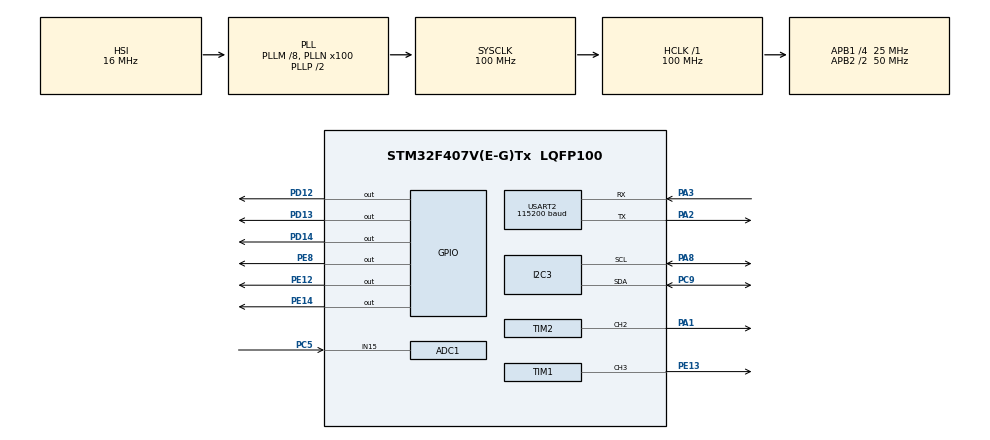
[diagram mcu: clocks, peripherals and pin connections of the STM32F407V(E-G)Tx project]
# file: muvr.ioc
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ADC1.Channel-2\#ChannelRegularConversion=ADC_CHANNEL_15
ADC1.ContinuousConvMode=ENABLE
ADC1.DMAContinuousRequests=DISABLE
ADC1.NbrOfConversionFlag=1
ADC1.Rank-2\#ChannelRegularConversion=1
ADC1.SamplingTime-2\#ChannelRegularConversion=ADC_SAMPLETIME_3CYCLES
ADC1.master=1
Dma.Request0=USART2_TX
Dma.USART2_TX.0.Direction=DMA_MEMORY_TO_PERIPH
Dma.USART2_TX.0.FIFOMode=DMA_FIFOMODE_DISABLE
Dma.USART2_TX.0.Instance=DMA1_Stream6
Dma.USART2_TX.0.MemDataAlignment=DMA_MDATAALIGN_BYTE
Dma.USART2_TX.0.MemInc=DMA_MINC_ENABLE
Dma.USART2_TX.0.Mode=DMA_NORMAL
Dma.USART2_TX.0.PeriphDataAlignment=DMA_PDATAALIGN_BYTE
Dma.USART2_TX.0.PeriphInc=DMA_PINC_DISABLE
Dma.USART2_TX.0.Priority=DMA_PRIORITY_LOW
FREERTOS.BinarySemaphores01=xSpeakerSem,Dynamic,NULL,Depleted
FREERTOS.Mutexes01=xUARTMutex,Dynamic,NULL,Depleted;xFANMutex,Dynamic,NULL,Available
FREERTOS.Queues01=queue_r0,5,WeatherData_t,0,Dynamic,NULL,NULL;queue_pr,5,float,0,Dynamic,NULL,NULL;queue_co,5,float,0,Dynamic,NULL,NULL;uartCommandQueue,3,uint8_t,0,Dynamic,NULL,NULL;queue_watchdog,4,WatchdogError_t,0,Dynamic,NULL,NULL
FREERTOS.Tasks01=CoMeasureTask,24,512,co_measure_task,Default,NULL,Dynamic,NULL,NULL;WeatherTask,24,512,weather_task,Default,NULL,Dynamic,NULL,NULL;Speaker,40,128,speaker_alarm_task,Default,NULL,Dynamic,NULL,NULL;FanTask,40,128,fan_task,Default,NULL,Dynamic,NULL,NULL;UartCommand,32,256,uart_command_task,Default,NULL,Dynamic,NULL,NULL;UartDisplay,24,256,uart_display_task,Default,NULL,Dynamic,NULL,NULL;WatchdogTask,40,128,watch_dog_task,Default,NULL,Dynamic,NULL,NULL
FREERTOS.configUSE_NEWLIB_REENTRANT=1
Mcu.Family=STM32F4
Mcu.Name=STM32F407V(E-G)Tx
Mcu.Package=LQFP100
NVIC.DMA1_Stream6_IRQn=true\:5\:0\:false\:false\:true\:true\:false\:true\:true
NVIC.PriorityGroup=NVIC_PRIORITYGROUP_4
NVIC.TIM6_DAC_IRQn=true\:15\:0\:false\:false\:true\:false\:false\:true\:true
NVIC.TimeBase=TIM6_DAC_IRQn
NVIC.TimeBaseIP=TIM6
NVIC.USART2_IRQn=true\:5\:0\:false\:false\:true\:true\:true\:true\:true
PA1.Signal=S_TIM2_CH2
PA2.Mode=Asynchronous
PA2.Signal=USART2_TX
PA3.Mode=Asynchronous
PA3.Signal=USART2_RX
PA8.Mode=I2C
PA8.Signal=I2C3_SCL
PC5.Signal=ADCx_IN15
PC9.Mode=I2C
PC9.Signal=I2C3_SDA
PD12.Signal=GPIO_Output
PD13.Signal=GPIO_Output
PD14.Signal=GPIO_Output
PE12.Signal=GPIO_Output
PE13.Signal=S_TIM1_CH3
PE14.Signal=GPIO_Output
PE8.Signal=GPIO_Output
PH0-OSC_IN.Mode=HSE-External-Oscillator
PH0-OSC_IN.Signal=RCC_OSC_IN
PH1-OSC_OUT.Mode=HSE-External-Oscillator
PH1-OSC_OUT.Signal=RCC_OSC_OUT
ProjectManager.HeapSize=0x200
ProjectManager.StackSize=0x400
ProjectManager.TargetToolchain=STM32CubeIDE
RCC.48MHZClocksFreq_Value=50000000
RCC.AHBFreq_Value=100000000
RCC.APB1CLKDivider=RCC_HCLK_DIV4
RCC.APB1Freq_Value=25000000
RCC.APB1TimFreq_Value=50000000
RCC.APB2CLKDivider=RCC_HCLK_DIV2
RCC.APB2Freq_Value=50000000
RCC.APB2TimFreq_Value=100000000
RCC.CortexFreq_Value=100000000
RCC.HCLKFreq_Value=100000000
RCC.HSE_VALUE=25000000
RCC.HSI_VALUE=16000000
RCC.LSE_VALUE=32768
RCC.PLLM=8
RCC.PLLN=100
RCC.SYSCLKFreq_VALUE=100000000
RCC.SYSCLKSource=RCC_SYSCLKSOURCE_PLLCLK
RCC.VCOOutputFreq_Value=200000000
SH.ADCx_IN15.0=ADC1_IN15,IN15
SH.S_TIM1_CH3.0=TIM1_CH3,PWM Generation3 CH3
SH.S_TIM2_CH2.0=TIM2_CH2,PWM Generation2 CH2
TIM1.Channel-PWM\ Generation3\ CH3=TIM_CHANNEL_3
TIM1.Period=19999
TIM1.Prescaler=83
TIM2.Channel-PWM\ Generation2\ CH2=TIM_CHANNEL_2
TIM2.Period=499
TIM2.Prescaler=83
USART2.BaudRate=115200
USART2.VirtualMode=VM_ASYNC
VP_FREERTOS_VS_CMSIS_V2.Mode=CMSIS_V2
VP_SYS_VS_tim6.Mode=TIM6
VP_TIM1_VS_ClockSourceINT.Mode=Internal
VP_TIM2_VS_ClockSourceINT.Mode=Internal
board=custom

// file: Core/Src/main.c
/* USER CODE BEGIN Header */
/**
  ******************************************************************************
  * @file           : main.c
  * @brief          : Main program body
  ******************************************************************************
  * @attention
  *
  * Copyright (c) 2025 STMicroelectronics.
  * All rights reserved.
  *
  * This software is licensed under terms that can be found in the LICENSE file
  * in the root directory of this software component.
  * If no LICENSE file comes with this software, it is provided AS-IS.
  *
  ******************************************************************************
  */
/* USER CODE END Header */
#include "main.h"
#include "cmsis_os.h"

/* USER CODE BEGIN Includes */
#include <string.h>
#include <stdio.h>
#include <math.h>
#include "BME280_STM32.h"

/* USER CODE END Includes */

/* USER CODE BEGIN PD */
#define UART_TX_BUF_SIZE 256
/* USER CODE END PD */

ADC_HandleTypeDef hadc1;

I2C_HandleTypeDef hi2c3;

TIM_HandleTypeDef htim1;
TIM_HandleTypeDef htim2;

UART_HandleTypeDef huart2;
DMA_HandleTypeDef hdma_usart2_tx;

/* Definitions for CoMeasureTask */
osThreadId_t CoMeasureTaskHandle;
const osThreadAttr_t CoMeasureTask_attributes = {
  .name = "CoMeasureTask",
  .stack_size = 512 * 4,
  .priority = (osPriority_t) osPriorityNormal,
};
/* Definitions for WeatherTask */
osThreadId_t WeatherTaskHandle;
const osThreadAttr_t WeatherTask_attributes = {
  .name = "WeatherTask",
  .stack_size = 512 * 4,
  .priority = (osPriority_t) osPriorityNormal,
};
/* Definitions for Speaker */
osThreadId_t SpeakerHandle;
const osThreadAttr_t Speaker_attributes = {
  .name = "Speaker",
  .stack_size = 128 * 4,
  .priority = (osPriority_t) osPriorityHigh,
};
/* Definitions for FanTask */
osThreadId_t FanTaskHandle;
const osThreadAttr_t FanTask_attributes = {
  .name = "FanTask",
  .stack_size = 128 * 4,
  .priority = (osPriority_t) osPriorityHigh,
};
/* Definitions for UartCommand */
osThreadId_t UartCommandHandle;
const osThreadAttr_t UartCommand_attributes = {
  .name = "UartCommand",
  .stack_size = 256 * 4,
  .priority = (osPriority_t) osPriorityAboveNormal,
};
/* Definitions for UartDisplay */
osThreadId_t UartDisplayHandle;
const osThreadAttr_t UartDisplay_attributes = {
  .name = "UartDisplay",
  .stack_size = 256 * 4,
  .priority = (osPriority_t) osPriorityNormal,
};
/* Definitions for WatchdogTask */
osThreadId_t WatchdogTaskHandle;
const osThreadAttr_t WatchdogTask_attributes = {
  .name = "WatchdogTask",
  .stack_size = 128 * 4,
  .priority = (osPriority_t) osPriorityHigh,
};
/* Definitions for queue_r0 */
osMessageQueueId_t queue_r0Handle;
const osMessageQueueAttr_t queue_r0_attributes = {
  .name = "queue_r0"
};
/* Definitions for queue_pr */
osMessageQueueId_t queue_prHandle;
const osMessageQueueAttr_t queue_pr_attributes = {
  .name = "queue_pr"
};
/* Definitions for queue_co */
osMessageQueueId_t queue_coHandle;
const osMessageQueueAttr_t queue_co_attributes = {
  .name = "queue_co"
};
/* Definitions for uartCommandQueue */
osMessageQueueId_t uartCommandQueueHandle;
const osMessageQueueAttr_t uartCommandQueue_attributes = {
  .name = "uartCommandQueue"
};
/* Definitions for queue_watchdog */
osMessageQueueId_t queue_watchdogHandle;
const osMessageQueueAttr_t queue_watchdog_attributes = {
  .name = "queue_watchdog"
};
/* Definitions for xUARTMutex */
osMutexId_t xUARTMutexHandle;
const osMutexAttr_t xUARTMutex_attributes = {
  .name = "xUARTMutex"
};
/* Definitions for xFANMutex */
osMutexId_t xFANMutexHandle;
const osMutexAttr_t xFANMutex_attributes = {
  .name = "xFANMutex"
};
/* Definitions for xSpeakerSem */
osSemaphoreId_t xSpeakerSemHandle;
const osSemaphoreAttr_t xSpeakerSem_attributes = {
  .name = "xSpeakerSem"
};
/* USER CODE BEGIN PV */
float Temperature, Pressure, Humidity;
WeatherData_t data;
uint8_t rx_buff = 0;
volatile uint8_t fan_continuous_mode = 0;

static uint8_t uart_tx_buffer[UART_TX_BUF_SIZE];

static volatile uint16_t uart_tx_head = 0;
static volatile uint16_t uart_tx_tail = 0;
static volatile uint8_t uart_tx_busy = 0;

static uint16_t current_transmit_length = 0;
/* USER CODE END PV */

void SystemClock_Config(void);
static void MX_GPIO_Init(void);
static void MX_DMA_Init(void);
static void MX_USART2_UART_Init(void);
static void MX_TIM2_Init(void);
static void MX_ADC1_Init(void);
static void MX_I2C3_Init(void);
static void MX_TIM1_Init(void);
void co_measure_task(void *argument);
void weather_task(void *argument);
void speaker_alarm_task(void *argument);
void fan_task(void *argument);
void uart_command_task(void *argument);
void uart_display_task(void *argument);
void watch_dog_task(void *argument);

/* USER CODE BEGIN PFP */
void Speaker_Beep(uint32_t duration_ms);
void fan_rotating(uint32_t duration_ms);
void BME280_Init(void);
void fan_stop(void);
//void DMATransferComplete(DMA_HandleTypeDef *hdma);
int uart_tx_enqueue(const uint8_t* data, uint16_t len);
void uart_start_tx_dma(void);
/* USER CODE END PFP */

int main(void)
{

  /* MCU Configuration--------------------------------------------------------*/

  /* Reset of all peripherals, Initializes the Flash interface and the Systick. */
  HAL_Init();

  /* Configure the system clock */
  SystemClock_Config();

  /* Initialize all configured peripherals */
  MX_GPIO_Init();
  MX_DMA_Init();
  MX_USART2_UART_Init();
  MX_TIM2_Init();
  MX_ADC1_Init();
  MX_I2C3_Init();
  MX_TIM1_Init();
  /* USER CODE BEGIN 2 */
  BME280_Config(OSRS_2, OSRS_16, OSRS_1, MODE_NORMAL, T_SB_0p5, IIR_16);
//  HAL_DMA_RegisterCallback(&hdma_usart2_tx, HAL_DMA_XFER_CPLT_CB_ID, &DMATransferComplete);
  /* USER CODE END 2 */

  /* Init scheduler */
  osKernelInitialize();
  /* Create the mutex(es) */
  /* creation of xUARTMutex */
  xUARTMutexHandle = osMutexNew(&xUARTMutex_attributes);

  /* creation of xFANMutex */
  xFANMutexHandle = osMutexNew(&xFANMutex_attributes);

  /* Create the semaphores(s) */
  /* creation of xSpeakerSem */
  xSpeakerSemHandle = osSemaphoreNew(1, 0, &xSpeakerSem_attributes);

  /* Create the queue(s) */
  /* creation of queue_r0 */
  queue_r0Handle = osMessageQueueNew (5, sizeof(WeatherData_t), &queue_r0_attributes);

  /* creation of queue_pr */
  queue_prHandle = osMessageQueueNew (5, sizeof(float), &queue_pr_attributes);

  /* creation of queue_co */
  queue_coHandle = osMessageQueueNew (5, sizeof(float), &queue_co_attributes);

  /* creation of uartCommandQueue */
  uartCommandQueueHandle = osMessageQueueNew (3, sizeof(uint8_t), &uartCommandQueue_attributes);

  /* creation of queue_watchdog */
  queue_watchdogHandle = osMessageQueueNew (4, sizeof(WatchdogError_t), &queue_watchdog_attributes);

  /* Create the thread(s) */
  /* creation of CoMeasureTask */
  CoMeasureTaskHandle = osThreadNew(co_measure_task, NULL, &CoMeasureTask_attributes);

  /* creation of WeatherTask */
  WeatherTaskHandle = osThreadNew(weather_task, NULL, &WeatherTask_attributes);

  /* creation of Speaker */
  SpeakerHandle = osThreadNew(speaker_alarm_task, NULL, &Speaker_attributes);

  /* creation of FanTask */
  FanTaskHandle = osThreadNew(fan_task, NULL, &FanTask_attributes);

  /* creation of UartCommand */
  UartCommandHandle = osThreadNew(uart_command_task, NULL, &UartCommand_attributes);

  /* creation of UartDisplay */
  UartDisplayHandle = osThreadNew(uart_display_task, NULL, &UartDisplay_attributes);

  /* creation of WatchdogTask */
  WatchdogTaskHandle = osThreadNew(watch_dog_task, NULL, &WatchdogTask_attributes);

  /* Start scheduler */
  osKernelStart();

  /* We should never get here as control is now taken by the scheduler */

  /* Infinite loop */
  while (1)
  {

  }
}

void SystemClock_Config(void)
{
  RCC_OscInitTypeDef RCC_OscInitStruct = {0};
  RCC_ClkInitTypeDef RCC_ClkInitStruct = {0};

  /** Configure the main internal regulator output voltage
  */
  __HAL_RCC_PWR_CLK_ENABLE();
  __HAL_PWR_VOLTAGESCALING_CONFIG(PWR_REGULATOR_VOLTAGE_SCALE1);

  /** Initializes the RCC Oscillators according to the specified parameters
  * in the RCC_OscInitTypeDef structure.
  */
  RCC_OscInitStruct.OscillatorType = RCC_OSCILLATORTYPE_HSI;
  RCC_OscInitStruct.HSIState = RCC_HSI_ON;
  RCC_OscInitStruct.HSICalibrationValue = RCC_HSICALIBRATION_DEFAULT;
  RCC_OscInitStruct.PLL.PLLState = RCC_PLL_ON;
  RCC_OscInitStruct.PLL.PLLSource = RCC_PLLSOURCE_HSI;
  RCC_OscInitStruct.PLL.PLLM = 8;
  RCC_OscInitStruct.PLL.PLLN = 100;
  RCC_OscInitStruct.PLL.PLLP = RCC_PLLP_DIV2;
  RCC_OscInitStruct.PLL.PLLQ = 4;
  if (HAL_RCC_OscConfig(&RCC_OscInitStruct) != HAL_OK)
  {
    Error_Handler();
  }

  /** Initializes the CPU, AHB and APB buses clocks
  */
  RCC_ClkInitStruct.ClockType = RCC_CLOCKTYPE_HCLK|RCC_CLOCKTYPE_SYSCLK
                              |RCC_CLOCKTYPE_PCLK1|RCC_CLOCKTYPE_PCLK2;
  RCC_ClkInitStruct.SYSCLKSource = RCC_SYSCLKSOURCE_PLLCLK;
  RCC_ClkInitStruct.AHBCLKDivider = RCC_SYSCLK_DIV1;
  RCC_ClkInitStruct.APB1CLKDivider = RCC_HCLK_DIV4;
  RCC_ClkInitStruct.APB2CLKDivider = RCC_HCLK_DIV2;

  if (HAL_RCC_ClockConfig(&RCC_ClkInitStruct, FLASH_LATENCY_3) != HAL_OK)
  {
    Error_Handler();
  }
}

static void MX_ADC1_Init(void)
{

  ADC_ChannelConfTypeDef sConfig = {0};

  /** Configure the global features of the ADC (Clock, Resolution, Data Alignment and number of conversion)
  */
  hadc1.Instance = ADC1;
  hadc1.Init.ClockPrescaler = ADC_CLOCK_SYNC_PCLK_DIV2;
  hadc1.Init.Resolution = ADC_RESOLUTION_12B;
  hadc1.Init.ScanConvMode = DISABLE;
  hadc1.Init.ContinuousConvMode = ENABLE;
  hadc1.Init.DiscontinuousConvMode = DISABLE;
  hadc1.Init.ExternalTrigConvEdge = ADC_EXTERNALTRIGCONVEDGE_NONE;
  hadc1.Init.ExternalTrigConv = ADC_SOFTWARE_START;
  hadc1.Init.DataAlign = ADC_DATAALIGN_RIGHT;
  hadc1.Init.NbrOfConversion = 1;
  hadc1.Init.DMAContinuousRequests = DISABLE;
  hadc1.Init.EOCSelection = ADC_EOC_SINGLE_CONV;
  if (HAL_ADC_Init(&hadc1) != HAL_OK)
  {
    Error_Handler();
  }

  /** Configure for the selected ADC regular channel its corresponding rank in the sequencer and its sample time.
  */
  sConfig.Channel = ADC_CHANNEL_15;
  sConfig.Rank = 1;
  sConfig.SamplingTime = ADC_SAMPLETIME_3CYCLES;
  if (HAL_ADC_ConfigChannel(&hadc1, &sConfig) != HAL_OK)
  {
    Error_Handler();
  }

}

static void MX_I2C3_Init(void)
{

  hi2c3.Instance = I2C3;
  hi2c3.Init.ClockSpeed = 100000;
  hi2c3.Init.DutyCycle = I2C_DUTYCYCLE_2;
  hi2c3.Init.OwnAddress1 = 0;
  hi2c3.Init.AddressingMode = I2C_ADDRESSINGMODE_7BIT;
  hi2c3.Init.DualAddressMode = I2C_DUALADDRESS_DISABLE;
  hi2c3.Init.OwnAddress2 = 0;
  hi2c3.Init.GeneralCallMode = I2C_GENERALCALL_DISABLE;
  hi2c3.Init.NoStretchMode = I2C_NOSTRETCH_DISABLE;
  if (HAL_I2C_Init(&hi2c3) != HAL_OK)
  {
    Error_Handler();
  }

}

static void MX_TIM1_Init(void)
{

  TIM_ClockConfigTypeDef sClockSourceConfig = {0};
  TIM_MasterConfigTypeDef sMasterConfig = {0};
  TIM_OC_InitTypeDef sConfigOC = {0};
  TIM_BreakDeadTimeConfigTypeDef sBreakDeadTimeConfig = {0};

  htim1.Instance = TIM1;
  htim1.Init.Prescaler = 83;
  htim1.Init.CounterMode = TIM_COUNTERMODE_UP;
  htim1.Init.Period = 19999;
  htim1.Init.ClockDivision = TIM_CLOCKDIVISION_DIV1;
  htim1.Init.RepetitionCounter = 0;
  htim1.Init.AutoReloadPreload = TIM_AUTORELOAD_PRELOAD_DISABLE;
  if (HAL_TIM_Base_Init(&htim1) != HAL_OK)
  {
    Error_Handler();
  }
  sClockSourceConfig.ClockSource = TIM_CLOCKSOURCE_INTERNAL;
  if (HAL_TIM_ConfigClockSource(&htim1, &sClockSourceConfig) != HAL_OK)
  {
    Error_Handler();
  }
  if (HAL_TIM_PWM_Init(&htim1) != HAL_OK)
  {
    Error_Handler();
  }
  sMasterConfig.MasterOutputTrigger = TIM_TRGO_RESET;
  sMasterConfig.MasterSlaveMode = TIM_MASTERSLAVEMODE_DISABLE;
  if (HAL_TIMEx_MasterConfigSynchronization(&htim1, &sMasterConfig) != HAL_OK)
  {
    Error_Handler();
  }
  sConfigOC.OCMode = TIM_OCMODE_PWM1;
  sConfigOC.Pulse = 0;
  sConfigOC.OCPolarity = TIM_OCPOLARITY_HIGH;
  sConfigOC.OCNPolarity = TIM_OCNPOLARITY_HIGH;
  sConfigOC.OCFastMode = TIM_OCFAST_DISABLE;
  sConfigOC.OCIdleState = TIM_OCIDLESTATE_RESET;
  sConfigOC.OCNIdleState = TIM_OCNIDLESTATE_RESET;
  if (HAL_TIM_PWM_ConfigChannel(&htim1, &sConfigOC, TIM_CHANNEL_3) != HAL_OK)
  {
    Error_Handler();
  }
  sBreakDeadTimeConfig.OffStateRunMode = TIM_OSSR_DISABLE;
  sBreakDeadTimeConfig.OffStateIDLEMode = TIM_OSSI_DISABLE;
  sBreakDeadTimeConfig.LockLevel = TIM_LOCKLEVEL_OFF;
  sBreakDeadTimeConfig.DeadTime = 0;
  sBreakDeadTimeConfig.BreakState = TIM_BREAK_DISABLE;
  sBreakDeadTimeConfig.BreakPolarity = TIM_BREAKPOLARITY_HIGH;
  sBreakDeadTimeConfig.AutomaticOutput = TIM_AUTOMATICOUTPUT_DISABLE;
  if (HAL_TIMEx_ConfigBreakDeadTime(&htim1, &sBreakDeadTimeConfig) != HAL_OK)
  {
    Error_Handler();
  }
  HAL_TIM_MspPostInit(&htim1);

}

static void MX_TIM2_Init(void)
{

  TIM_ClockConfigTypeDef sClockSourceConfig = {0};
  TIM_MasterConfigTypeDef sMasterConfig = {0};
  TIM_OC_InitTypeDef sConfigOC = {0};

  htim2.Instance = TIM2;
  htim2.Init.Prescaler = 83;
  htim2.Init.CounterMode = TIM_COUNTERMODE_UP;
  htim2.Init.Period = 499;
  htim2.Init.ClockDivision = TIM_CLOCKDIVISION_DIV1;
  htim2.Init.AutoReloadPreload = TIM_AUTORELOAD_PRELOAD_DISABLE;
  if (HAL_TIM_Base_Init(&htim2) != HAL_OK)
  {
    Error_Handler();
  }
  sClockSourceConfig.ClockSource = TIM_CLOCKSOURCE_INTERNAL;
  if (HAL_TIM_ConfigClockSource(&htim2, &sClockSourceConfig) != HAL_OK)
  {
    Error_Handler();
  }
  if (HAL_TIM_PWM_Init(&htim2) != HAL_OK)
  {
    Error_Handler();
  }
  sMasterConfig.MasterOutputTrigger = TIM_TRGO_RESET;
  sMasterConfig.MasterSlaveMode = TIM_MASTERSLAVEMODE_DISABLE;
  if (HAL_TIMEx_MasterConfigSynchronization(&htim2, &sMasterConfig) != HAL_OK)
  {
    Error_Handler();
  }
  sConfigOC.OCMode = TIM_OCMODE_PWM1;
  sConfigOC.Pulse = 0;
  sConfigOC.OCPolarity = TIM_OCPOLARITY_HIGH;
  sConfigOC.OCFastMode = TIM_OCFAST_DISABLE;
  if (HAL_TIM_PWM_ConfigChannel(&htim2, &sConfigOC, TIM_CHANNEL_2) != HAL_OK)
  {
    Error_Handler();
  }
  HAL_TIM_MspPostInit(&htim2);

}

static void MX_USART2_UART_Init(void)
{

  huart2.Instance = USART2;
  huart2.Init.BaudRate = 115200;
  huart2.Init.WordLength = UART_WORDLENGTH_8B;
  huart2.Init.StopBits = UART_STOPBITS_1;
  huart2.Init.Parity = UART_PARITY_NONE;
  huart2.Init.Mode = UART_MODE_TX_RX;
  huart2.Init.HwFlowCtl = UART_HWCONTROL_NONE;
  huart2.Init.OverSampling = UART_OVERSAMPLING_16;
  if (HAL_UART_Init(&huart2) != HAL_OK)
  {
    Error_Handler();
  }

}

static void MX_DMA_Init(void)
{

  /* DMA controller clock enable */
  __HAL_RCC_DMA1_CLK_ENABLE();

  /* DMA interrupt init */
  /* DMA1_Stream6_IRQn interrupt configuration */
  HAL_NVIC_SetPriority(DMA1_Stream6_IRQn, 5, 0);
  HAL_NVIC_EnableIRQ(DMA1_Stream6_IRQn);

}

static void MX_GPIO_Init(void)
{
  GPIO_InitTypeDef GPIO_InitStruct = {0};

  /* GPIO Ports Clock Enable */
  __HAL_RCC_GPIOH_CLK_ENABLE();
  __HAL_RCC_GPIOA_CLK_ENABLE();
  __HAL_RCC_GPIOC_CLK_ENABLE();
  __HAL_RCC_GPIOE_CLK_ENABLE();
  __HAL_RCC_GPIOD_CLK_ENABLE();

  /*Configure GPIO pin Output Level */
  HAL_GPIO_WritePin(GPIOE, GPIO_PIN_8|GPIO_PIN_12|GPIO_PIN_14, GPIO_PIN_RESET);

  /*Configure GPIO pin Output Level */
  HAL_GPIO_WritePin(GPIOD, GPIO_PIN_12|GPIO_PIN_13|GPIO_PIN_14, GPIO_PIN_RESET);

  /*Configure GPIO pins : PE8 PE12 PE14 */
  GPIO_InitStruct.Pin = GPIO_PIN_8|GPIO_PIN_12|GPIO_PIN_14;
  GPIO_InitStruct.Mode = GPIO_MODE_OUTPUT_PP;
  GPIO_InitStruct.Pull = GPIO_NOPULL;
  GPIO_InitStruct.Speed = GPIO_SPEED_FREQ_LOW;
  HAL_GPIO_Init(GPIOE, &GPIO_InitStruct);

  /*Configure GPIO pins : PD12 PD13 PD14 */
  GPIO_InitStruct.Pin = GPIO_PIN_12|GPIO_PIN_13|GPIO_PIN_14;
  GPIO_InitStruct.Mode = GPIO_MODE_OUTPUT_PP;
  GPIO_InitStruct.Pull = GPIO_NOPULL;
  GPIO_InitStruct.Speed = GPIO_SPEED_FREQ_LOW;
  HAL_GPIO_Init(GPIOD, &GPIO_InitStruct);

}

/* USER CODE BEGIN 4 */

int uart_tx_enqueue(const uint8_t* data, uint16_t len) {
    uint16_t next_head;
    for (uint16_t i = 0; i < len; i++) {
        next_head = (uart_tx_head + 1) % UART_TX_BUF_SIZE;
        if (next_head == uart_tx_tail) {
            // Bafer pun
            return -1;
        }
        uart_tx_buffer[uart_tx_head] = data[i];
        uart_tx_head = next_head;
    }
    return 0;
}

void uart_start_tx_dma(void) {
    if (uart_tx_busy) return; // već radi

    if (uart_tx_head == uart_tx_tail) {
        // Bafer prazan
        return;
    }

    uart_tx_busy = 1;

    if (uart_tx_head > uart_tx_tail) {
        current_transmit_length = uart_tx_head - uart_tx_tail;
    } else {
        current_transmit_length = UART_TX_BUF_SIZE - uart_tx_tail;
    }

    HAL_UART_Transmit_DMA(&huart2, &uart_tx_buffer[uart_tx_tail], current_transmit_length);
}

void Speaker_Beep(uint32_t duration_ms)
{
    htim2.Instance->CCR2 = 470;
    HAL_TIM_PWM_Start(&htim2, TIM_CHANNEL_2);
    osDelay(pdMS_TO_TICKS(duration_ms));
    HAL_TIM_PWM_Stop(&htim2, TIM_CHANNEL_2);
}

void fan_rotating(uint32_t duration_ms)
{
	HAL_GPIO_WritePin(IN2_GPIO_Port, IN2_GPIO_Pin, GPIO_PIN_RESET);
	__HAL_TIM_SET_COMPARE(&htim1, TIM_CHANNEL_3, 19000);
	osMutexAcquire(xUARTMutexHandle, osWaitForever);
	HAL_UART_Transmit(&huart2, (uint8_t*)"F\r\n", 3, 100);
	osMutexRelease(xUARTMutexHandle);
    osDelay(pdMS_TO_TICKS(duration_ms));
	fan_stop();
}

void fan_stop(void)
{
	__HAL_TIM_SET_COMPARE(&htim1, TIM_CHANNEL_3, 0);
}

void HAL_UART_RxCpltCallback(UART_HandleTypeDef *huart)
{
    if (huart->Instance == USART2) {
        osMessageQueuePut(uartCommandQueueHandle, &rx_buff, 0, 0);
        HAL_UART_Receive_IT(&huart2, &rx_buff, 1);
    }
}
void HAL_UART_TxCpltCallback(UART_HandleTypeDef *huart) {
    if (huart->Instance == USART2) {
        uart_tx_tail = (uart_tx_tail + current_transmit_length) % UART_TX_BUF_SIZE;

        if (uart_tx_tail != uart_tx_head) {
            uart_tx_busy = 0;
            uart_start_tx_dma();
        } else {
            uart_tx_busy = 0;
        }
    }
}

/* USER CODE END 4 */

void co_measure_task(void *argument)
{
  /* USER CODE BEGIN 5 */
	HAL_GPIO_WritePin(GPIOD, GPIO_PIN_13, GPIO_PIN_SET);
	uint32_t adc_value;
	const float Vcc = 5.0f;
	const float RL = 10000.0f;
	WeatherData_t latestWeather = { .temperature = 25.0f, .humidity = 52.0f };
// Kalibracija R0 za trenutnu temp i hum
//	osDelay(pdMS_TO_TICKS(1000));
	float Vout;
	float Rs, T, H;
	osDelay(pdMS_TO_TICKS(100));
	osMessageQueueGet(queue_r0Handle, &latestWeather, NULL, osWaitForever);
	T = latestWeather.temperature;
	H = latestWeather.humidity;
	HAL_ADC_Start(&hadc1);
	if (HAL_ADC_PollForConversion(&hadc1, 100) == HAL_OK) {
		adc_value = HAL_ADC_GetValue(&hadc1);
	}
	HAL_ADC_Stop(&hadc1);

	Vout = (adc_value * Vcc) / 4095.0f;
	Rs = ((Vcc - Vout) * RL) / Vout;

	float R0 = Rs / (-0.0122f * T - 0.00609f * H + 1.7086f);

	char msg[64];
	snprintf(msg, sizeof(msg), "R0 = %.2f\r\n (T=%.1fC H=%.1f%%)", R0, T, H);
	osMutexAcquire(xUARTMutexHandle, osWaitForever);
	HAL_UART_Transmit_DMA(&huart2, (uint8_t*)msg, strlen(msg));
	osMutexRelease(xUARTMutexHandle);

	// Petlja za merenje CO
	for (;;) {
		HAL_ADC_Start(&hadc1);
		if (HAL_ADC_PollForConversion(&hadc1, 100) == HAL_OK) {
			adc_value = HAL_ADC_GetValue(&hadc1);
			Vout = (adc_value * Vcc) / 4095.0f;
			Rs = ((Vcc - Vout) * RL) / Vout;

			float ratio = Rs / R0;
			float co_ppm = 19.709f * powf(ratio, -0.652f);

			osMessageQueuePut(queue_coHandle, &co_ppm, 0, pdMS_TO_TICKS(100));
			if (co_ppm > 30.0f) {
//			    HAL_UART_Transmit(&huart2, (uint8_t*)"Speaker Semafor RELEASE\r\n", 26, 100);
				xTaskNotifyGive(FanTaskHandle);
				osSemaphoreRelease(xSpeakerSemHandle);
			}
		}
		HAL_ADC_Stop(&hadc1);
		xTaskNotify(WatchdogTaskHandle, 0x01, eSetBits);
		osDelay(pdMS_TO_TICKS(500));
	}

  /* USER CODE END 5 */
}

void weather_task(void *argument)
{
  /* USER CODE BEGIN weather_task */

	for (;;) {
		BME280_Measure();
		osMessageQueuePut(queue_r0Handle, &data, 0, pdMS_TO_TICKS(100));

		osMessageQueuePut(queue_prHandle, &Pressure, 0, pdMS_TO_TICKS(100));
		if(Pressure>1020000	){
		    osSemaphoreRelease(xSpeakerSemHandle);
		}
		xTaskNotify(WatchdogTaskHandle, 0x02, eSetBits);
		osDelay(pdMS_TO_TICKS(500));
	}
  /* USER CODE END weather_task */
}

void speaker_alarm_task(void *argument)
{
  /* USER CODE BEGIN speaker_alarm_task */
//	HAL_UART_Transmit(&huart2, (uint8_t*)"Speaker task running...\r\n", 26, 100);
  /* Infinite loop */
  for(;;)
  {
	  osSemaphoreAcquire(xSpeakerSemHandle, osWaitForever);
//	  HAL_UART_Transmit(&huart2, (uint8_t*)"Beep!\r\n", 7, 100);
	  Speaker_Beep(1000);
	}

  /* USER CODE END speaker_alarm_task */
}

void fan_task(void *argument)
{
  /* USER CODE BEGIN fan_task */
	  HAL_GPIO_WritePin(IN1_GPIO_Port, IN1_GPIO_Pin, GPIO_PIN_SET);
	  HAL_GPIO_WritePin(IN2_GPIO_Port, IN2_GPIO_Pin, GPIO_PIN_SET);
	  HAL_GPIO_WritePin(SLP_GPIO_Port, SLP_GPIO_Pin, GPIO_PIN_SET);
	  HAL_TIM_PWM_Start(&htim1, TIM_CHANNEL_3);
  /* Infinite loop */
  for(;;)
  {
	  ulTaskNotifyTake(pdTRUE, portMAX_DELAY);
//	  HAL_UART_Transmit(&huart2, (uint8_t*)"FAN\r\n", 5, 100);
	  if (fan_continuous_mode){
		  __HAL_TIM_SET_COMPARE(&htim1, TIM_CHANNEL_3, 19000);
		  while (fan_continuous_mode)
		  {
			  osDelay(100);

			osMutexAcquire(xUARTMutexHandle, osWaitForever);
			HAL_UART_Transmit(&huart2, (uint8_t*)"F\r\n", 3, 100);
			osMutexRelease(xUARTMutexHandle);
		  }
		  osMutexAcquire(xFANMutexHandle, osWaitForever);
		  fan_stop();
		  osMutexRelease(xFANMutexHandle);
	  }else{
		  osMutexAcquire(xFANMutexHandle, osWaitForever);
		  fan_rotating(1000);
		  osMutexRelease(xFANMutexHandle);
	  }

  }
  /* USER CODE END fan_task */
}

void uart_command_task(void *argument)
{
  /* USER CODE BEGIN uart_command_task */
  /* Infinite loop */
	uint8_t fan_state;
	HAL_UART_Receive_IT(&huart2, &rx_buff, 1);
	for(;;)
	{
		if(osMessageQueueGet(uartCommandQueueHandle, &fan_state, NULL, osWaitForever) == osOK){
			if (fan_state == '0') {
			    fan_continuous_mode = 0;
				osMutexAcquire(xFANMutexHandle, osWaitForever);
			    fan_stop();
			    osMutexRelease(xFANMutexHandle);
			}
			else if (fan_state == '1') {
			    fan_continuous_mode = 1;
			    xTaskNotifyGive(FanTaskHandle);
			}
			else if (fan_state >= '2' && fan_state <= '9') {
			    fan_continuous_mode = 0;
			    uint32_t duration = (fan_state - '0') * 1000;
				osMutexAcquire(xFANMutexHandle, osWaitForever);
				fan_rotating(duration);
				osMutexRelease(xFANMutexHandle);
			}
		}

	}
  /* USER CODE END uart_command_task */
}

void uart_display_task(void *argument)
{
  /* USER CODE BEGIN uart_display_task */
	float co_ppm;
	float Pressure;
	char msg[64];
	WatchdogError_t err;
  /* Infinite loop */
  for(;;)
  {

	  if(osMessageQueueGet(queue_coHandle, &co_ppm, NULL, osWaitForever) == osOK){
//		  while (huart2.gState != HAL_UART_STATE_READY) osDelay(1);
		  snprintf(msg, sizeof(msg), "UART: Co: %.1f ppm\r\n", co_ppm);
		  osMutexAcquire(xUARTMutexHandle, osWaitForever);
		  uart_tx_enqueue((uint8_t*)msg, strlen(msg));
		  uart_start_tx_dma();
//		  HAL_UART_Transmit_DMA(&huart2, (uint8_t*)msg, strlen(msg));
		  osMutexRelease(xUARTMutexHandle);
	  }
	  if(osMessageQueueGet(queue_prHandle, &Pressure, NULL, osWaitForever) == osOK){
		  while (huart2.gState != HAL_UART_STATE_READY) osDelay(1);
		  snprintf(msg, sizeof(msg), "UART: P: %.2f hPa\r\n", Pressure);
		  osMutexAcquire(xUARTMutexHandle, osWaitForever);
//		  HAL_UART_Transmit_DMA(&huart2, (uint8_t*)msg, strlen(msg));
		  uart_tx_enqueue((uint8_t*)msg, strlen(msg));
		  uart_start_tx_dma();
		  osMutexRelease(xUARTMutexHandle);
	  }
	  if (osMessageQueueGet(queue_watchdogHandle, &err, NULL, pdMS_TO_TICKS(100)) == osOK){
		  switch (err){
			case WTDG_ERROR_CO:
				snprintf(msg, sizeof(msg), "[WDTG] Greska u CO mjerenju\r\n");
				break;
			case WTDG_ERROR_WEATHER:
				snprintf(msg, sizeof(msg), "[WDTG] Greska u Weather mjerenju\r\n");
				break;
			case WTDG_ERROR_UART:
				snprintf(msg, sizeof(msg), "[WDTG] Greska u UART Prikazu\r\n");
				break;
			default:
				snprintf(msg, sizeof(msg), "[WDTG] Greska u CO mjerenju\r\n");
				break;
		}
		  osMutexAcquire(xUARTMutexHandle, osWaitForever);
		  while (huart2.gState != HAL_UART_STATE_READY) osDelay(1);
//		  HAL_UART_Transmit_DMA(&huart2, (uint8_t*)msg, strlen(msg));
		  uart_tx_enqueue((uint8_t*)msg, strlen(msg));
		  uart_start_tx_dma();
		  osMutexRelease(xUARTMutexHandle);
	  }

	  xTaskNotify(WatchdogTaskHandle, 0x04, eSetBits);  // uart task
	  osDelay(pdMS_TO_TICKS(300));
  }
  /* USER CODE END uart_display_task */
}

void watch_dog_task(void *argument)
{
  /* USER CODE BEGIN watch_dog_task */
	//bit mask co 0x01, weather 0x02, uart 0x04
	const TickType_t xDelay = pdMS_TO_TICKS(5000);
	uint32_t ulNotificationValue;
	uint32_t aliveMask;
	WatchdogError_t err;
	for (;;)
	{
		aliveMask = 0;
		TickType_t startTick = xTaskGetTickCount();
		while ((xTaskGetTickCount() - startTick) < xDelay)
				{
					if (xTaskNotifyWait(0x00, 0xFFFFFFFF, &ulNotificationValue, pdMS_TO_TICKS(500)) == pdTRUE)
					{
						aliveMask |= ulNotificationValue;
					}
				}
		if ((aliveMask & 0x07) == 0x07)
				{
					// Svi taskovi su se javili
					HAL_GPIO_WritePin(GPIOD, GPIO_PIN_12, GPIO_PIN_SET);   // ZELENA
					HAL_GPIO_WritePin(GPIOD, GPIO_PIN_14, GPIO_PIN_RESET); // CRVENA
				}else if (!(aliveMask & 0x01)) {
					HAL_GPIO_WritePin(GPIOD, GPIO_PIN_12, GPIO_PIN_RESET); // ZELENA
					HAL_GPIO_WritePin(GPIOD, GPIO_PIN_14, GPIO_PIN_SET);   // CRVENA
					err = WTDG_ERROR_CO;
					osMessageQueuePut(queue_watchdogHandle, &err, 0, pdMS_TO_TICKS(100));
				}else if (!(aliveMask & 0x02)) {
					HAL_GPIO_WritePin(GPIOD, GPIO_PIN_12, GPIO_PIN_RESET); // ZELENA
					HAL_GPIO_WritePin(GPIOD, GPIO_PIN_14, GPIO_PIN_SET);   // CRVENA
					err = WTDG_ERROR_WEATHER;
					osMessageQueuePut(queue_watchdogHandle, &err, 0, pdMS_TO_TICKS(100));

				}else if (!(aliveMask & 0x04)) {
					HAL_GPIO_WritePin(GPIOD, GPIO_PIN_12, GPIO_PIN_RESET); // ZELENA
					HAL_GPIO_WritePin(GPIOD, GPIO_PIN_14, GPIO_PIN_SET);   // CRVENA
					err = WTDG_ERROR_UART;
					osMessageQueuePut(queue_watchdogHandle, &err, 0, pdMS_TO_TICKS(100));
					}

			}

  /* USER CODE END watch_dog_task */
}

void HAL_TIM_PeriodElapsedCallback(TIM_HandleTypeDef *htim)
{
  if (htim->Instance == TIM6) {
    HAL_IncTick();
  }
}

void Error_Handler(void)
{
  __disable_irq();
  while (1)
  {
  }
}
